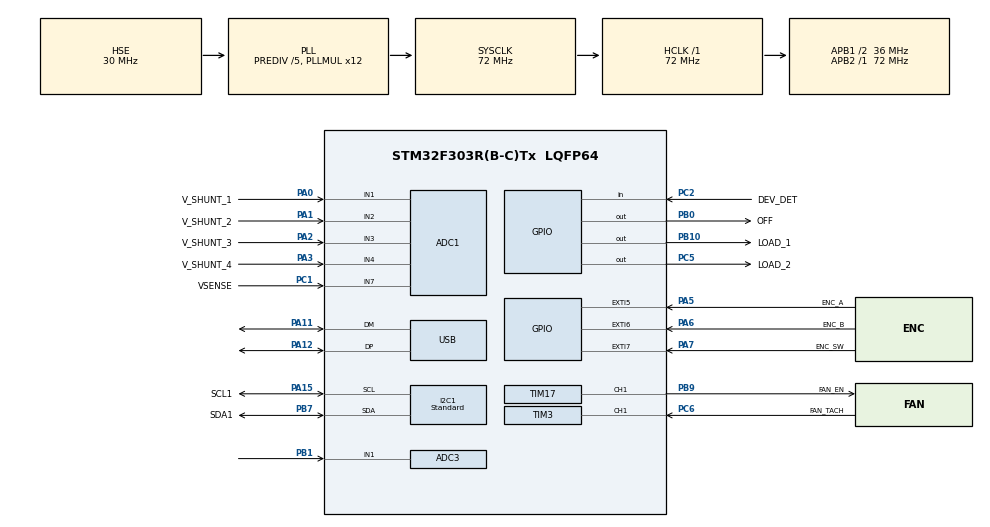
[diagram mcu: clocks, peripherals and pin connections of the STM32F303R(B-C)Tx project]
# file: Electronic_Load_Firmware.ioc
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ADC1.Channel-0\#ChannelRegularConversion=ADC_CHANNEL_1
ADC1.Channel-1\#ChannelRegularConversion=ADC_CHANNEL_2
ADC1.Channel-2\#ChannelRegularConversion=ADC_CHANNEL_3
ADC1.Channel-3\#ChannelRegularConversion=ADC_CHANNEL_4
ADC1.Channel-6\#ChannelRegularConversion=ADC_CHANNEL_7
ADC1.ContinuousConvMode=ENABLE
ADC1.DMAContinuousRequests=ENABLE
ADC1.EOCSelection=ADC_EOC_SEQ_CONV
ADC1.NbrOfConversion=5
ADC1.NbrOfConversionFlag=1
ADC1.Offset-0\#ChannelRegularConversion=0
ADC1.Offset-1\#ChannelRegularConversion=0
ADC1.Offset-2\#ChannelRegularConversion=0
ADC1.Offset-3\#ChannelRegularConversion=0
ADC1.Offset-6\#ChannelRegularConversion=0
ADC1.OffsetNumber-0\#ChannelRegularConversion=ADC_OFFSET_NONE
ADC1.OffsetNumber-1\#ChannelRegularConversion=ADC_OFFSET_NONE
ADC1.OffsetNumber-2\#ChannelRegularConversion=ADC_OFFSET_NONE
ADC1.OffsetNumber-3\#ChannelRegularConversion=ADC_OFFSET_NONE
ADC1.OffsetNumber-6\#ChannelRegularConversion=ADC_OFFSET_NONE
ADC1.Rank-0\#ChannelRegularConversion=1
ADC1.Rank-1\#ChannelRegularConversion=2
ADC1.Rank-2\#ChannelRegularConversion=3
ADC1.Rank-3\#ChannelRegularConversion=4
ADC1.Rank-6\#ChannelRegularConversion=5
ADC1.SamplingTime-0\#ChannelRegularConversion=ADC_SAMPLETIME_181CYCLES_5
ADC1.SamplingTime-1\#ChannelRegularConversion=ADC_SAMPLETIME_181CYCLES_5
ADC1.SamplingTime-2\#ChannelRegularConversion=ADC_SAMPLETIME_181CYCLES_5
ADC1.SamplingTime-3\#ChannelRegularConversion=ADC_SAMPLETIME_181CYCLES_5
ADC1.SamplingTime-6\#ChannelRegularConversion=ADC_SAMPLETIME_181CYCLES_5
ADC1.SamplingTimeOPAMP-6\#ChannelRegularConversion=ADC_SAMPLETIME_61CYCLES_5
ADC1.master=1
ADC3.Channel-0\#ChannelRegularConversion=ADC_CHANNEL_1
ADC3.NbrOfConversionFlag=1
ADC3.Offset-0\#ChannelRegularConversion=0
ADC3.OffsetNumber-0\#ChannelRegularConversion=ADC_OFFSET_NONE
ADC3.Rank-0\#ChannelRegularConversion=1
ADC3.SamplingTime-0\#ChannelRegularConversion=ADC_SAMPLETIME_1CYCLE_5
ADC3.SamplingTimeOPAMP-0\#ChannelRegularConversion=ADC_SAMPLETIME_61CYCLES_5
ADC3.master=1
Dma.ADC1.0.Direction=DMA_PERIPH_TO_MEMORY
Dma.ADC1.0.Instance=DMA1_Channel1
Dma.ADC1.0.MemDataAlignment=DMA_MDATAALIGN_HALFWORD
Dma.ADC1.0.MemInc=DMA_MINC_ENABLE
Dma.ADC1.0.Mode=DMA_CIRCULAR
Dma.ADC1.0.PeriphDataAlignment=DMA_PDATAALIGN_HALFWORD
Dma.ADC1.0.PeriphInc=DMA_PINC_DISABLE
Dma.ADC1.0.Priority=DMA_PRIORITY_LOW
Dma.Request0=ADC1
I2C1.I2C_Speed_Mode=I2C_Standard
I2C1.Timing=0x00201D2B
Mcu.Family=STM32F3
Mcu.Name=STM32F303R(B-C)Tx
Mcu.Package=LQFP64
NVIC.DMA1_Channel1_IRQn=true\:3\:0\:true\:false\:true\:false\:true\:true
NVIC.EXTI9_5_IRQn=true\:2\:0\:true\:false\:true\:true\:true\:true
NVIC.PriorityGroup=NVIC_PRIORITYGROUP_4
NVIC.TIM3_IRQn=true\:0\:0\:false\:false\:true\:true\:true\:true
NVIC.USB_LP_CAN_RX0_IRQn=true\:0\:0\:false\:false\:true\:false\:true\:true
PA0.GPIO_Label=V_SHUNT_1
PA0.Mode=IN1-Single-Ended
PA0.Signal=ADC1_IN1
PA1.GPIO_Label=V_SHUNT_2
PA1.Mode=IN2-Single-Ended
PA1.Signal=ADC1_IN2
PA11.Mode=Device
PA11.Signal=USB_DM
PA12.Mode=Device
PA12.Signal=USB_DP
PA13.Mode=Trace_Asynchronous_SW
PA13.Signal=SYS_JTMS-SWDIO
PA14.Mode=Trace_Asynchronous_SW
PA14.Signal=SYS_JTCK-SWCLK
PA15.GPIO_Label=SCL1
PA15.GPIO_Pu=GPIO_NOPULL
PA15.Mode=I2C
PA15.Signal=I2C1_SCL
PA2.GPIO_Label=V_SHUNT_3
PA2.Mode=IN3-Single-Ended
PA2.Signal=ADC1_IN3
PA3.GPIO_Label=V_SHUNT_4
PA3.Mode=IN4-Single-Ended
PA3.Signal=ADC1_IN4
PA5.GPIO_Label=ENC_A
PA5.GPIO_ModeDefaultEXTI=GPIO_MODE_IT_RISING_FALLING
PA5.GPIO_PuPd=GPIO_PULLUP
PA5.Signal=GPXTI5
PA6.GPIO_Label=ENC_B
PA6.GPIO_ModeDefaultEXTI=GPIO_MODE_IT_RISING_FALLING
PA6.GPIO_PuPd=GPIO_PULLUP
PA6.Signal=GPXTI6
PA7.GPIO_Label=ENC_SW
PA7.GPIO_ModeDefaultEXTI=GPIO_MODE_IT_FALLING
PA7.GPIO_PuPd=GPIO_PULLUP
PA7.Signal=GPXTI7
PB0.GPIO_Label=OFF
PB0.PinState=GPIO_PIN_SET
PB0.Signal=GPIO_Output
PB1.Mode=IN1-Single-Ended
PB1.Signal=ADC3_IN1
PB10.GPIO_Label=LOAD_1
PB10.PinState=GPIO_PIN_SET
PB10.Signal=GPIO_Output
PB3.GPIO_Label=SWD_SWO
PB3.Mode=Trace_Asynchronous_SW
PB3.Signal=SYS_JTDO-TRACESWO
PB7.GPIO_Label=SDA1
PB7.GPIO_Pu=GPIO_NOPULL
PB7.Mode=I2C
PB7.Signal=I2C1_SDA
PB9.GPIO_Label=FAN_EN
PB9.Signal=S_TIM17_CH1
PC1.GPIO_Label=VSENSE
PC1.Signal=ADCx_IN7
PC2.GPIO_Label=DEV_DET
PC2.Signal=GPIO_Input
PC5.GPIO_Label=LOAD_2
PC5.PinState=GPIO_PIN_SET
PC5.Signal=GPIO_Output
PC6.GPIO_Label=FAN_TACH
PC6.Signal=S_TIM3_CH1
PF0-OSC_IN.Mode=HSE-External-Oscillator
PF0-OSC_IN.Signal=RCC_OSC_IN
PF1-OSC_OUT.Mode=HSE-External-Oscillator
PF1-OSC_OUT.Signal=RCC_OSC_OUT
ProjectManager.HeapSize=0x200
ProjectManager.StackSize=0x400
ProjectManager.TargetToolchain=STM32CubeIDE
RCC.AHBFreq_Value=72000000
RCC.APB1CLKDivider=RCC_HCLK_DIV2
RCC.APB1Freq_Value=36000000
RCC.APB1TimFreq_Value=72000000
RCC.APB2Freq_Value=72000000
RCC.APB2TimFreq_Value=72000000
RCC.CortexFreq_Value=72000000
RCC.HCLKFreq_Value=72000000
RCC.HSE_VALUE=30000000
RCC.HSI_VALUE=8000000
RCC.LSE_VALUE=32768
RCC.PLLMUL=RCC_PLL_MUL12
RCC.PRESCALERUSB=RCC_USBCLKSOURCE_PLL_DIV1_5
RCC.RCC_PLLsource_Clock_Source_FROM_HSE=RCC_HSE_PREDIV_DIV5
RCC.SYSCLKFreq_VALUE=72000000
RCC.SYSCLKSourceVirtual=RCC_SYSCLKSOURCE_PLLCLK
RCC.USBFreq_Value=48000000
SH.ADCx_IN7.0=ADC1_IN7,IN7-Single-Ended
SH.S_TIM17_CH1.0=TIM17_CH1,PWM Generation1 CH1
SH.S_TIM3_CH1.0=TIM3_CH1,Input_Capture1_from_TI1
TIM17.Channel=TIM_CHANNEL_1
TIM17.Period=1919
TIM3.Channel-Input_Capture1_from_TI1=TIM_CHANNEL_1
TIM3.Prescaler=47
USB_DEVICE.CLASS_NAME_FS=CDC
USB_DEVICE.VirtualMode=Cdc
USB_DEVICE.VirtualModeFS=Cdc_FS
VP_TIM17_VS_ClockSourceINT.Mode=Enable_Timer
VP_TIM3_VS_ClockSourceINT.Mode=Internal
VP_USB_DEVICE_VS_USB_DEVICE_CDC_FS.Mode=CDC_FS
board=custom

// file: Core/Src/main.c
/* USER CODE BEGIN Header */
/**
 ******************************************************************************
 * @file           : main.c
 * @brief          : Main program body
 ******************************************************************************
 * @attention
 *
 * Copyright (c) 2026 STMicroelectronics.
 * All rights reserved.
 *
 * This software is licensed under terms that can be found in the LICENSE file
 * in the root directory of this software component.
 * If no LICENSE file comes with this software, it is provided AS-IS.
 *
 ******************************************************************************
 */
/* USER CODE END Header */
#include "main.h"
#include "usb_device.h"

/* USER CODE BEGIN Includes */
#include "mcp4725.h"
#include "usbd_cdc_if.h"
#include <math.h>
#include <stdio.h>
#include <stdlib.h>
#include <string.h>

/* USER CODE END Includes */

/* USER CODE BEGIN PD */
#define REPORT_PERIOD_MS 1000U

/* ADC reference (MCU VDD) */
#define ADC_VREF_MV 3300U
#define ADC_RAW_TO_MV(r) ((uint32_t)(r) * ADC_VREF_MV / 4096U)

/* Fixed DAC test value: 2048 ≈ 1.65 V when VDD = 3.3 V */
#define DAC_TEST_VALUE 0U
/* USER CODE END PD */

ADC_HandleTypeDef hadc1;
ADC_HandleTypeDef hadc3;
DMA_HandleTypeDef hdma_adc1;

I2C_HandleTypeDef hi2c1;

TIM_HandleTypeDef htim3;
TIM_HandleTypeDef htim17;

/* USER CODE BEGIN PV */
extern USBD_HandleTypeDef hUsbDeviceFS;
extern volatile uint8_t cmd_ready[];
extern volatile uint8_t cmd_ready_flag;

static volatile uint16_t adc_dma_buf[5]; /* [0..3]=V_SHUNT_1..4, [4]=VSENSE */

static uint32_t last_report_tick_ms = 0U;
static uint8_t banner_sent = 0U;
static char report_buf[200];

static HAL_StatusTypeDef dac_status =
    HAL_ERROR;                  /* tracks last DAC I2C result */
static uint16_t dac_value = 0U; /* current DAC setting */

static uint8_t i2c_devices_found = 0U; /* count from bus scan */
static char i2c_scan_buf[128];         /* scan result string */
/* Per-channel load state: 1=ON (GPIO LOW, PNP active), 0=OFF (GPIO HIGH, PNP
 * off) Index 0=CH1(PB0), 1=CH2(PB10), 2=CH3(PC5), 3=CH4(Repurposed) */
static uint8_t chan_enabled[4] = {1U, 1U, 1U, 0U}; /* all ON at startup */

static GPIO_TypeDef *const chan_port[4] = {OFF_GPIO_Port, LOAD_1_GPIO_Port,
                                           LOAD_2_GPIO_Port, NULL};
static const uint16_t chan_pin[4] = {OFF_Pin, LOAD_1_Pin, LOAD_2_Pin, 0};

static uint16_t fan_duty = 60U; /* Fan duty cycle in percent (0-100) */
static float env_temp_c = 0.0f; /* Calculated temperature from PB1 thermistor */
/* USER CODE END PV */

void SystemClock_Config(void);
static void MX_GPIO_Init(void);
static void MX_DMA_Init(void);
static void MX_ADC1_Init(void);
static void MX_I2C1_Init(void);
static void MX_TIM3_Init(void);
static void MX_TIM17_Init(void);
static void MX_ADC3_Init(void);
/* USER CODE BEGIN PFP */
static uint8_t usb_is_configured(void);
static HAL_StatusTypeDef clock_try_hse30_pll72_usb48(void);
static HAL_StatusTypeDef clock_try_hsi_pll48_usb48(void);
/* USER CODE END PFP */

/* USER CODE BEGIN 0 */
static uint8_t usb_is_configured(void) {
  return (hUsbDeviceFS.dev_state == USBD_STATE_CONFIGURED) ? 1U : 0U;
}

static HAL_StatusTypeDef clock_try_hse30_pll72_usb48(void) {
  RCC_OscInitTypeDef RCC_OscInitStruct = {0};
  RCC_ClkInitTypeDef RCC_ClkInitStruct = {0};
  RCC_PeriphCLKInitTypeDef PeriphClkInit = {0};

  RCC_OscInitStruct.OscillatorType =
      RCC_OSCILLATORTYPE_HSI | RCC_OSCILLATORTYPE_HSE;
  RCC_OscInitStruct.HSEState = RCC_HSE_ON;
  RCC_OscInitStruct.HSEPredivValue = RCC_HSE_PREDIV_DIV5;
  RCC_OscInitStruct.HSIState = RCC_HSI_ON;
  RCC_OscInitStruct.HSICalibrationValue = RCC_HSICALIBRATION_DEFAULT;
  RCC_OscInitStruct.PLL.PLLState = RCC_PLL_ON;
  RCC_OscInitStruct.PLL.PLLSource = RCC_PLLSOURCE_HSE;
  RCC_OscInitStruct.PLL.PLLMUL = RCC_PLL_MUL12;
  if (HAL_RCC_OscConfig(&RCC_OscInitStruct) != HAL_OK) {
    return HAL_ERROR;
  }

  RCC_ClkInitStruct.ClockType = RCC_CLOCKTYPE_HCLK | RCC_CLOCKTYPE_SYSCLK |
                                RCC_CLOCKTYPE_PCLK1 | RCC_CLOCKTYPE_PCLK2;
  RCC_ClkInitStruct.SYSCLKSource = RCC_SYSCLKSOURCE_PLLCLK;
  RCC_ClkInitStruct.AHBCLKDivider = RCC_SYSCLK_DIV1;
  RCC_ClkInitStruct.APB1CLKDivider = RCC_HCLK_DIV2;
  RCC_ClkInitStruct.APB2CLKDivider = RCC_HCLK_DIV1;
  if (HAL_RCC_ClockConfig(&RCC_ClkInitStruct, FLASH_LATENCY_2) != HAL_OK) {
    return HAL_ERROR;
  }

  PeriphClkInit.PeriphClockSelection =
      RCC_PERIPHCLK_USB | RCC_PERIPHCLK_I2C1 | RCC_PERIPHCLK_ADC12;
  PeriphClkInit.Adc12ClockSelection = RCC_ADC12PLLCLK_DIV1;
  PeriphClkInit.I2c1ClockSelection = RCC_I2C1CLKSOURCE_HSI;
  PeriphClkInit.USBClockSelection = RCC_USBCLKSOURCE_PLL_DIV1_5;
  if (HAL_RCCEx_PeriphCLKConfig(&PeriphClkInit) != HAL_OK) {
    return HAL_ERROR;
  }

  return HAL_OK;
}

static HAL_StatusTypeDef clock_try_hsi_pll48_usb48(void) {
  RCC_OscInitTypeDef RCC_OscInitStruct = {0};
  RCC_ClkInitTypeDef RCC_ClkInitStruct = {0};
  RCC_PeriphCLKInitTypeDef PeriphClkInit = {0};

  RCC_OscInitStruct.OscillatorType = RCC_OSCILLATORTYPE_HSI;
  RCC_OscInitStruct.HSIState = RCC_HSI_ON;
  RCC_OscInitStruct.HSICalibrationValue = RCC_HSICALIBRATION_DEFAULT;
  RCC_OscInitStruct.PLL.PLLState = RCC_PLL_ON;
  RCC_OscInitStruct.PLL.PLLSource = RCC_PLLSOURCE_HSI;
  RCC_OscInitStruct.PLL.PLLMUL = RCC_PLL_MUL12;
  if (HAL_RCC_OscConfig(&RCC_OscInitStruct) != HAL_OK) {
    return HAL_ERROR;
  }

  RCC_ClkInitStruct.ClockType = RCC_CLOCKTYPE_HCLK | RCC_CLOCKTYPE_SYSCLK |
                                RCC_CLOCKTYPE_PCLK1 | RCC_CLOCKTYPE_PCLK2;
  RCC_ClkInitStruct.SYSCLKSource = RCC_SYSCLKSOURCE_PLLCLK;
  RCC_ClkInitStruct.AHBCLKDivider = RCC_SYSCLK_DIV1;
  RCC_ClkInitStruct.APB1CLKDivider = RCC_HCLK_DIV2;
  RCC_ClkInitStruct.APB2CLKDivider = RCC_HCLK_DIV1;
  if (HAL_RCC_ClockConfig(&RCC_ClkInitStruct, FLASH_LATENCY_1) != HAL_OK) {
    return HAL_ERROR;
  }

  PeriphClkInit.PeriphClockSelection =
      RCC_PERIPHCLK_USB | RCC_PERIPHCLK_I2C1 | RCC_PERIPHCLK_ADC12;
  PeriphClkInit.Adc12ClockSelection = RCC_ADC12PLLCLK_DIV1;
  PeriphClkInit.I2c1ClockSelection = RCC_I2C1CLKSOURCE_HSI;
  PeriphClkInit.USBClockSelection = RCC_USBCLKSOURCE_PLL;
  if (HAL_RCCEx_PeriphCLKConfig(&PeriphClkInit) != HAL_OK) {
    return HAL_ERROR;
  }

  return HAL_OK;
}

/* ---- Load channel helpers ---- */
static void chan_apply(uint8_t ch) {
  if (ch >= 4U || chan_port[ch] == NULL)
    return;
  /* GPIO LOW = PNP ON = load active; GPIO HIGH = PNP OFF = no load */
  HAL_GPIO_WritePin(chan_port[ch], chan_pin[ch],
                    chan_enabled[ch] ? GPIO_PIN_RESET : GPIO_PIN_SET);
}

static void chan_apply_all(void) {
  for (uint8_t i = 0; i < 4; i++)
    chan_apply(i);
}

/* ---- Fan control helper (mirrors BMS Fan_SetSpeed) ---- */
static void Fan_SetSpeed(uint8_t percent) {
  if (percent > 100)
    percent = 100;
  fan_duty = percent;
  /* Scale 0-100% to 0-1919 (TIM17 period) */
  uint32_t compare = (uint32_t)percent * 1919U / 100U;
  __HAL_TIM_SET_COMPARE(&htim17, TIM_CHANNEL_1, (uint16_t)compare);
}

/* ---- Thermistor calculation helper ---- */
/* Assumes 10k thermistor (B57861s0103H040) with Beta = 3988K and 10k voltage
 * divider. */
static float calc_temperature(uint32_t raw_adc) {
  if (raw_adc == 0 || raw_adc >= 4095)
    return -99.9f; /* Error / open / short */

  /* Assuming Thermistor is to GND, pull-up is 10k */
  float r_therm = 10000.0f * ((float)raw_adc / (4095.0f - (float)raw_adc));

  /* Beta equation: 1/T = 1/T0 + (1/Beta) * ln(R/R0) */
  float t0 = 298.15f; /* 25C */
  float r0 = 10000.0f;
  float beta = 3988.0f; /* Typical Beta for 10k B57861S */

  float inv_t = (1.0f / t0) + (1.0f / beta) * logf(r_therm / r0);
  float t_kelvin = 1.0f / inv_t;
  return t_kelvin - 273.15f; /* Celsius */
}

/* USER CODE END 0 */

int main(void) {

  /* MCU Configuration--------------------------------------------------------*/

  /* Reset of all peripherals, Initializes the Flash interface and the Systick.
   */
  HAL_Init();

  /* USER CODE BEGIN Init */
  /* Prefer HSE 30 MHz -> PLL 72 MHz -> USB 48 MHz; fall back to HSI if no
   * crystal. */
  if (clock_try_hse30_pll72_usb48() != HAL_OK) {
    (void)clock_try_hsi_pll48_usb48();
  }
  /* USER CODE END Init */

  /* Configure the system clock */
  SystemClock_Config();

  /* Initialize all configured peripherals */
  MX_GPIO_Init();
  MX_DMA_Init();
  MX_ADC1_Init();
  MX_I2C1_Init();
  MX_TIM3_Init();
  MX_TIM17_Init();
  MX_USB_DEVICE_Init();
  MX_ADC3_Init();
  /* USER CODE BEGIN 2 */
  /* ADC1 Initialization for Shunts/VSense */
  HAL_ADCEx_Calibration_Start(&hadc1, ADC_SINGLE_ENDED);
  HAL_ADC_Start_DMA(&hadc1, (uint32_t *)adc_dma_buf, 5);

  /* ADC3 Initialization for PB1 Thermistor */
  __HAL_RCC_ADC34_CLK_ENABLE();
  HAL_ADCEx_Calibration_Start(&hadc3, ADC_SINGLE_ENDED);
  HAL_ADC_Start(&hadc3);

  HAL_TIM_PWM_Start(&htim17, TIM_CHANNEL_1);
  Fan_SetSpeed(fan_duty); /* applies initial duty cycle to timer compare */
  /* USER CODE END 2 */

  /* Infinite loop */
  while (1) {

    /* USER CODE BEGIN 3 */

    /* ---- Process incoming USB command ---- */
    if (cmd_ready_flag) {
      const char *cmd = (const char *)cmd_ready;

      if (cmd[0] == 'E' || cmd[0] == 'e') {
        /* "E <0/1>"  — enable (1) or disable (0) ALL load channels */
        const char *p = cmd + 1;
        while (*p == ' ')
          p++;
        uint8_t en = (*p == '1') ? 1U : 0U;
        for (uint8_t i = 0; i < 4; i++)
          chan_enabled[i] = en;
        chan_apply_all();

        int n =
            snprintf(report_buf, sizeof(report_buf),
                     "OK EN=%u CH1=%u CH2=%u CH3=%u CH4=%u\r\n", (unsigned)en,
                     (unsigned)chan_enabled[0], (unsigned)chan_enabled[1],
                     (unsigned)chan_enabled[2], (unsigned)chan_enabled[3]);
        if (n > 0 && usb_is_configured() && CDC_IsReady_FS())
          (void)CDC_Transmit_FS((uint8_t *)report_buf, (uint16_t)n);
      } else if (cmd[0] == 'S' || cmd[0] == 's') {
        /* "S"  — status query: immediate telemetry snapshot */
        uint32_t s1_mv = ADC_RAW_TO_MV(adc_dma_buf[0]);
        uint32_t s2_mv = ADC_RAW_TO_MV(adc_dma_buf[1]);
        uint32_t s3_mv = ADC_RAW_TO_MV(adc_dma_buf[2]);
        uint32_t s4_mv = ADC_RAW_TO_MV(adc_dma_buf[3]);

        int n = snprintf(
            report_buf, sizeof(report_buf),
            "S1=%lu S2=%lu S3=%lu S4=%lu CH1=%u CH2=%u CH3=%u CH4=%u\r\n",
            (unsigned long)s1_mv, (unsigned long)s2_mv, (unsigned long)s3_mv,
            (unsigned long)s4_mv, (unsigned)chan_enabled[0],
            (unsigned)chan_enabled[1], (unsigned)chan_enabled[2],
            (unsigned)chan_enabled[3]);
        if (n > 0 && usb_is_configured() && CDC_IsReady_FS())
          (void)CDC_Transmit_FS((uint8_t *)report_buf, (uint16_t)n);
      } else if (cmd[0] == 'L' || cmd[0] == 'l') {
        /* "L <1-4> <0/1>"  — toggle individual load channel */
        const char *p = cmd + 1;
        while (*p == ' ')
          p++;
        uint8_t ch_num = (*p >= '1' && *p <= '4') ? (*p - '1') : 0xFFU;
        p++;
        while (*p == ' ')
          p++;
        uint8_t state = (*p == '1') ? 1U : 0U;

        if (ch_num < 4U) {
          chan_enabled[ch_num] = state;
          chan_apply(ch_num);

          int n =
              snprintf(report_buf, sizeof(report_buf),
                       "OK CH%u=%u CH1=%u CH2=%u CH3=%u CH4=%u\r\n",
                       (unsigned)(ch_num + 1), (unsigned)state,
                       (unsigned)chan_enabled[0], (unsigned)chan_enabled[1],
                       (unsigned)chan_enabled[2], (unsigned)chan_enabled[3]);
          if (n > 0 && usb_is_configured() && CDC_IsReady_FS())
            (void)CDC_Transmit_FS((uint8_t *)report_buf, (uint16_t)n);
        }
      } else if (cmd[0] == 'D' || cmd[0] == 'd') {
        /* "D <0-4095>" — set DAC value */
        const char *p = cmd + 1;
        while (*p == ' ')
          p++;

        uint16_t val = 0;
        while (*p >= '0' && *p <= '9') {
          val = val * 10 + (*p - '0');
          p++;
        }

        if (val > 4095U)
          val = 4095U;
        dac_value = val;

        int n = snprintf(report_buf, sizeof(report_buf), "OK DAC=%u\r\n",
                         (unsigned)dac_value);
        if (n > 0 && usb_is_configured() && CDC_IsReady_FS())
          (void)CDC_Transmit_FS((uint8_t *)report_buf, (uint16_t)n);
      } else if (strncmp(cmd, "FAN:SET:", 8) == 0) {
        /* "FAN:SET:<0-100>" — set Fan Speed % (matches BMS command format) */
        int duty = atoi(cmd + 8);
        if (duty < 0)
          duty = 0;
        if (duty > 100)
          duty = 100;
        Fan_SetSpeed((uint8_t)duty);

        int n = snprintf(report_buf, sizeof(report_buf), "OK FAN=%u\r\n",
                         (unsigned)fan_duty);
        if (n > 0 && usb_is_configured() && CDC_IsReady_FS())
          (void)CDC_Transmit_FS((uint8_t *)report_buf, (uint16_t)n);
      }

      cmd_ready_flag = 0;
    }

    if (usb_is_configured() && CDC_IsReady_FS()) {
      uint32_t now = HAL_GetTick();

      if (!banner_sent) {
        int n = snprintf(
            report_buf, sizeof(report_buf),
            "\r\nElectronic Load Telemetry\r\n"
            "I2C_SCAN: %u device(s) found: %s\r\n"
            "CH1=%u CH2=%u CH3=%u CH4=%u DAC=%u FAN=%u DAC_I2C=%s\r\n\r\n",
            (unsigned)i2c_devices_found, i2c_scan_buf,
            (unsigned)chan_enabled[0], (unsigned)chan_enabled[1],
            (unsigned)chan_enabled[2], (unsigned)chan_enabled[3],
            (unsigned)dac_value, (unsigned)fan_duty,
            (dac_status == HAL_OK) ? "ACK" : "NACK");
        (void)CDC_Transmit_FS((uint8_t *)report_buf, (uint16_t)n);
        banner_sent = 1U;
        last_report_tick_ms = now;
      } else if ((now - last_report_tick_ms) >= REPORT_PERIOD_MS) {
        last_report_tick_ms = now;

        /* Sample PB1 Thermistor (ADC3) */
        uint32_t adc3_val = 0;
        if (HAL_ADC_PollForConversion(&hadc3, 10) == HAL_OK) {
          adc3_val = HAL_ADC_GetValue(&hadc3);
          env_temp_c = calc_temperature(adc3_val);
        }
        HAL_ADC_Start(&hadc3); // Restart conversion for next loop

        /* Check if DAC is present on the bus */
        HAL_StatusTypeDef dev_ready =
            HAL_I2C_IsDeviceReady(&hi2c1, MCP4725_ADDR, 3, 100);

        /* Try to write DAC value */
        dac_status = MCP4725_SetVoltage(dac_value);

        /* ADC snapshot */
        uint32_t s1_mv = ADC_RAW_TO_MV(adc_dma_buf[0]);
        uint32_t s2_mv = ADC_RAW_TO_MV(adc_dma_buf[1]);
        uint32_t s3_mv = ADC_RAW_TO_MV(adc_dma_buf[2]);
        uint32_t s4_mv = ADC_RAW_TO_MV(adc_dma_buf[3]);

        int n = snprintf(
            report_buf, sizeof(report_buf),
            "S1=%lu S2=%lu S3=%lu S4=%lu DAC=%u DEV=%s WR=%s "
            "FAN:AUTO=0,DUTY=%u,RPM=0 TEMP=%.1f RAW_ADC=%lu ERR=0x%02lX\r\n",
            (unsigned long)s1_mv, (unsigned long)s2_mv, (unsigned long)s3_mv,
            (unsigned long)s4_mv, (unsigned)dac_value,
            (dev_ready == HAL_OK) ? "OK" : "NO",
            (dac_status == HAL_OK) ? "OK" : "FAIL", (unsigned)fan_duty,
            env_temp_c, (unsigned long)adc3_val,
            (unsigned long)hi2c1.ErrorCode);
        if (n > 0)
          (void)CDC_Transmit_FS((uint8_t *)report_buf, (uint16_t)n);
      }
    }
  }
  /* USER CODE END 3 */
}

void SystemClock_Config(void) {
  RCC_OscInitTypeDef RCC_OscInitStruct = {0};
  RCC_ClkInitTypeDef RCC_ClkInitStruct = {0};
  RCC_PeriphCLKInitTypeDef PeriphClkInit = {0};

  /** Initializes the RCC Oscillators according to the specified parameters
   * in the RCC_OscInitTypeDef structure.
   */
  RCC_OscInitStruct.OscillatorType =
      RCC_OSCILLATORTYPE_HSI | RCC_OSCILLATORTYPE_HSE;
  RCC_OscInitStruct.HSEState = RCC_HSE_ON;
  RCC_OscInitStruct.HSEPredivValue = RCC_HSE_PREDIV_DIV5;
  RCC_OscInitStruct.HSIState = RCC_HSI_ON;
  RCC_OscInitStruct.HSICalibrationValue = RCC_HSICALIBRATION_DEFAULT;
  RCC_OscInitStruct.PLL.PLLState = RCC_PLL_ON;
  RCC_OscInitStruct.PLL.PLLSource = RCC_PLLSOURCE_HSE;
  RCC_OscInitStruct.PLL.PLLMUL = RCC_PLL_MUL12;
  if (HAL_RCC_OscConfig(&RCC_OscInitStruct) != HAL_OK) {
    Error_Handler();
  }

  /** Initializes the CPU, AHB and APB buses clocks
   */
  RCC_ClkInitStruct.ClockType = RCC_CLOCKTYPE_HCLK | RCC_CLOCKTYPE_SYSCLK |
                                RCC_CLOCKTYPE_PCLK1 | RCC_CLOCKTYPE_PCLK2;
  RCC_ClkInitStruct.SYSCLKSource = RCC_SYSCLKSOURCE_PLLCLK;
  RCC_ClkInitStruct.AHBCLKDivider = RCC_SYSCLK_DIV1;
  RCC_ClkInitStruct.APB1CLKDivider = RCC_HCLK_DIV2;
  RCC_ClkInitStruct.APB2CLKDivider = RCC_HCLK_DIV1;

  if (HAL_RCC_ClockConfig(&RCC_ClkInitStruct, FLASH_LATENCY_2) != HAL_OK) {
    Error_Handler();
  }
  PeriphClkInit.PeriphClockSelection = RCC_PERIPHCLK_USB | RCC_PERIPHCLK_I2C1 |
                                       RCC_PERIPHCLK_ADC12 |
                                       RCC_PERIPHCLK_ADC34;
  PeriphClkInit.Adc12ClockSelection = RCC_ADC12PLLCLK_DIV1;
  PeriphClkInit.Adc34ClockSelection = RCC_ADC34PLLCLK_DIV1;
  PeriphClkInit.I2c1ClockSelection = RCC_I2C1CLKSOURCE_HSI;
  PeriphClkInit.USBClockSelection = RCC_USBCLKSOURCE_PLL_DIV1_5;
  if (HAL_RCCEx_PeriphCLKConfig(&PeriphClkInit) != HAL_OK) {
    Error_Handler();
  }
}

static void MX_ADC1_Init(void) {

  ADC_MultiModeTypeDef multimode = {0};
  ADC_ChannelConfTypeDef sConfig = {0};

  /** Common config
   */
  hadc1.Instance = ADC1;
  hadc1.Init.ClockPrescaler = ADC_CLOCK_ASYNC_DIV1;
  hadc1.Init.Resolution = ADC_RESOLUTION_12B;
  hadc1.Init.ScanConvMode = ADC_SCAN_ENABLE;
  hadc1.Init.ContinuousConvMode = ENABLE;
  hadc1.Init.DiscontinuousConvMode = DISABLE;
  hadc1.Init.ExternalTrigConvEdge = ADC_EXTERNALTRIGCONVEDGE_NONE;
  hadc1.Init.ExternalTrigConv = ADC_SOFTWARE_START;
  hadc1.Init.DataAlign = ADC_DATAALIGN_RIGHT;
  hadc1.Init.NbrOfConversion = 5;
  hadc1.Init.DMAContinuousRequests = ENABLE;
  hadc1.Init.EOCSelection = ADC_EOC_SEQ_CONV;
  hadc1.Init.LowPowerAutoWait = DISABLE;
  hadc1.Init.Overrun = ADC_OVR_DATA_OVERWRITTEN;
  if (HAL_ADC_Init(&hadc1) != HAL_OK) {
    Error_Handler();
  }

  /** Configure the ADC multi-mode
   */
  multimode.Mode = ADC_MODE_INDEPENDENT;
  if (HAL_ADCEx_MultiModeConfigChannel(&hadc1, &multimode) != HAL_OK) {
    Error_Handler();
  }

  /** Configure Regular Channel
   */
  sConfig.Channel = ADC_CHANNEL_1;
  sConfig.Rank = ADC_REGULAR_RANK_1;
  sConfig.SingleDiff = ADC_SINGLE_ENDED;
  sConfig.SamplingTime = ADC_SAMPLETIME_181CYCLES_5;
  sConfig.OffsetNumber = ADC_OFFSET_NONE;
  sConfig.Offset = 0;
  if (HAL_ADC_ConfigChannel(&hadc1, &sConfig) != HAL_OK) {
    Error_Handler();
  }

  /** Configure Regular Channel
   */
  sConfig.Channel = ADC_CHANNEL_2;
  sConfig.Rank = ADC_REGULAR_RANK_2;
  if (HAL_ADC_ConfigChannel(&hadc1, &sConfig) != HAL_OK) {
    Error_Handler();
  }

  /** Configure Regular Channel
   */
  sConfig.Channel = ADC_CHANNEL_3;
  sConfig.Rank = ADC_REGULAR_RANK_3;
  if (HAL_ADC_ConfigChannel(&hadc1, &sConfig) != HAL_OK) {
    Error_Handler();
  }

  /** Configure Regular Channel
   */
  sConfig.Channel = ADC_CHANNEL_4;
  sConfig.Rank = ADC_REGULAR_RANK_4;
  if (HAL_ADC_ConfigChannel(&hadc1, &sConfig) != HAL_OK) {
    Error_Handler();
  }

  /** Configure Regular Channel
   */
  sConfig.Channel = ADC_CHANNEL_7;
  sConfig.Rank = ADC_REGULAR_RANK_5;
  if (HAL_ADC_ConfigChannel(&hadc1, &sConfig) != HAL_OK) {
    Error_Handler();
  }
}

static void MX_ADC3_Init(void) {

  ADC_MultiModeTypeDef multimode = {0};
  ADC_ChannelConfTypeDef sConfig = {0};

  /** Common config
   */
  hadc3.Instance = ADC3;
  hadc3.Init.ClockPrescaler = ADC_CLOCK_ASYNC_DIV1;
  hadc3.Init.Resolution = ADC_RESOLUTION_12B;
  hadc3.Init.ScanConvMode = ADC_SCAN_DISABLE;
  hadc3.Init.ContinuousConvMode = DISABLE;
  hadc3.Init.DiscontinuousConvMode = DISABLE;
  hadc3.Init.ExternalTrigConvEdge = ADC_EXTERNALTRIGCONVEDGE_NONE;
  hadc3.Init.ExternalTrigConv = ADC_SOFTWARE_START;
  hadc3.Init.DataAlign = ADC_DATAALIGN_RIGHT;
  hadc3.Init.NbrOfConversion = 1;
  hadc3.Init.DMAContinuousRequests = DISABLE;
  hadc3.Init.EOCSelection = ADC_EOC_SINGLE_CONV;
  hadc3.Init.LowPowerAutoWait = DISABLE;
  hadc3.Init.Overrun = ADC_OVR_DATA_OVERWRITTEN;
  if (HAL_ADC_Init(&hadc3) != HAL_OK) {
    Error_Handler();
  }

  /** Configure the ADC multi-mode
   */
  multimode.Mode = ADC_MODE_INDEPENDENT;
  if (HAL_ADCEx_MultiModeConfigChannel(&hadc3, &multimode) != HAL_OK) {
    Error_Handler();
  }

  /** Configure Regular Channel
   */
  sConfig.Channel = ADC_CHANNEL_1;
  sConfig.Rank = ADC_REGULAR_RANK_1;
  sConfig.SingleDiff = ADC_SINGLE_ENDED;
  sConfig.SamplingTime = ADC_SAMPLETIME_1CYCLE_5;
  sConfig.OffsetNumber = ADC_OFFSET_NONE;
  sConfig.Offset = 0;
  if (HAL_ADC_ConfigChannel(&hadc3, &sConfig) != HAL_OK) {
    Error_Handler();
  }
}

static void MX_I2C1_Init(void) {

  hi2c1.Instance = I2C1;
  hi2c1.Init.Timing = 0x00201D2B;
  hi2c1.Init.OwnAddress1 = 0;
  hi2c1.Init.AddressingMode = I2C_ADDRESSINGMODE_7BIT;
  hi2c1.Init.DualAddressMode = I2C_DUALADDRESS_DISABLE;
  hi2c1.Init.OwnAddress2 = 0;
  hi2c1.Init.OwnAddress2Masks = I2C_OA2_NOMASK;
  hi2c1.Init.GeneralCallMode = I2C_GENERALCALL_DISABLE;
  hi2c1.Init.NoStretchMode = I2C_NOSTRETCH_DISABLE;
  if (HAL_I2C_Init(&hi2c1) != HAL_OK) {
    Error_Handler();
  }

  /** Configure Analogue filter
   */
  if (HAL_I2CEx_ConfigAnalogFilter(&hi2c1, I2C_ANALOGFILTER_ENABLE) != HAL_OK) {
    Error_Handler();
  }

  /** Configure Digital filter
   */
  if (HAL_I2CEx_ConfigDigitalFilter(&hi2c1, 0) != HAL_OK) {
    Error_Handler();
  }
}

static void MX_TIM3_Init(void) {

  TIM_ClockConfigTypeDef sClockSourceConfig = {0};
  TIM_MasterConfigTypeDef sMasterConfig = {0};
  TIM_IC_InitTypeDef sConfigIC = {0};

  htim3.Instance = TIM3;
  htim3.Init.Prescaler = 47;
  htim3.Init.CounterMode = TIM_COUNTERMODE_UP;
  htim3.Init.Period = 65535;
  htim3.Init.ClockDivision = TIM_CLOCKDIVISION_DIV1;
  htim3.Init.AutoReloadPreload = TIM_AUTORELOAD_PRELOAD_DISABLE;
  if (HAL_TIM_Base_Init(&htim3) != HAL_OK) {
    Error_Handler();
  }
  sClockSourceConfig.ClockSource = TIM_CLOCKSOURCE_INTERNAL;
  if (HAL_TIM_ConfigClockSource(&htim3, &sClockSourceConfig) != HAL_OK) {
    Error_Handler();
  }
  if (HAL_TIM_IC_Init(&htim3) != HAL_OK) {
    Error_Handler();
  }
  sMasterConfig.MasterOutputTrigger = TIM_TRGO_RESET;
  sMasterConfig.MasterSlaveMode = TIM_MASTERSLAVEMODE_DISABLE;
  if (HAL_TIMEx_MasterConfigSynchronization(&htim3, &sMasterConfig) != HAL_OK) {
    Error_Handler();
  }
  sConfigIC.ICPolarity = TIM_INPUTCHANNELPOLARITY_RISING;
  sConfigIC.ICSelection = TIM_ICSELECTION_DIRECTTI;
  sConfigIC.ICPrescaler = TIM_ICPSC_DIV1;
  sConfigIC.ICFilter = 0;
  if (HAL_TIM_IC_ConfigChannel(&htim3, &sConfigIC, TIM_CHANNEL_1) != HAL_OK) {
    Error_Handler();
  }
}

static void MX_TIM17_Init(void) {

  TIM_OC_InitTypeDef sConfigOC = {0};
  TIM_BreakDeadTimeConfigTypeDef sBreakDeadTimeConfig = {0};

  htim17.Instance = TIM17;
  htim17.Init.Prescaler = 0;
  htim17.Init.CounterMode = TIM_COUNTERMODE_UP;
  htim17.Init.Period = 1919;
  htim17.Init.ClockDivision = TIM_CLOCKDIVISION_DIV1;
  htim17.Init.RepetitionCounter = 0;
  htim17.Init.AutoReloadPreload = TIM_AUTORELOAD_PRELOAD_DISABLE;
  if (HAL_TIM_Base_Init(&htim17) != HAL_OK) {
    Error_Handler();
  }
  if (HAL_TIM_PWM_Init(&htim17) != HAL_OK) {
    Error_Handler();
  }
  sConfigOC.OCMode = TIM_OCMODE_PWM1;
  sConfigOC.Pulse = 0;
  sConfigOC.OCPolarity = TIM_OCPOLARITY_HIGH;
  sConfigOC.OCNPolarity = TIM_OCNPOLARITY_HIGH;
  sConfigOC.OCFastMode = TIM_OCFAST_DISABLE;
  sConfigOC.OCIdleState = TIM_OCIDLESTATE_RESET;
  sConfigOC.OCNIdleState = TIM_OCNIDLESTATE_RESET;
  if (HAL_TIM_PWM_ConfigChannel(&htim17, &sConfigOC, TIM_CHANNEL_1) != HAL_OK) {
    Error_Handler();
  }
  sBreakDeadTimeConfig.OffStateRunMode = TIM_OSSR_DISABLE;
  sBreakDeadTimeConfig.OffStateIDLEMode = TIM_OSSI_DISABLE;
  sBreakDeadTimeConfig.LockLevel = TIM_LOCKLEVEL_OFF;
  sBreakDeadTimeConfig.DeadTime = 0;
  sBreakDeadTimeConfig.BreakState = TIM_BREAK_DISABLE;
  sBreakDeadTimeConfig.BreakPolarity = TIM_BREAKPOLARITY_HIGH;
  sBreakDeadTimeConfig.BreakFilter = 0;
  sBreakDeadTimeConfig.AutomaticOutput = TIM_AUTOMATICOUTPUT_DISABLE;
  if (HAL_TIMEx_ConfigBreakDeadTime(&htim17, &sBreakDeadTimeConfig) != HAL_OK) {
    Error_Handler();
  }
  HAL_TIM_MspPostInit(&htim17);
}

static void MX_DMA_Init(void) {

  /* DMA controller clock enable */
  __HAL_RCC_DMA1_CLK_ENABLE();

  /* DMA interrupt init */
  /* DMA1_Channel1_IRQn interrupt configuration */
  HAL_NVIC_SetPriority(DMA1_Channel1_IRQn, 3, 0);
  HAL_NVIC_EnableIRQ(DMA1_Channel1_IRQn);
}

static void MX_GPIO_Init(void) {
  GPIO_InitTypeDef GPIO_InitStruct = {0};

  /* GPIO Ports Clock Enable */
  __HAL_RCC_GPIOF_CLK_ENABLE();
  __HAL_RCC_GPIOC_CLK_ENABLE();
  __HAL_RCC_GPIOA_CLK_ENABLE();
  __HAL_RCC_GPIOB_CLK_ENABLE();

  /*Configure GPIO pin Output Level */
  HAL_GPIO_WritePin(LOAD_2_GPIO_Port, LOAD_2_Pin, GPIO_PIN_SET);

  /*Configure GPIO pin Output Level */
  HAL_GPIO_WritePin(GPIOB, OFF_Pin | LOAD_1_Pin, GPIO_PIN_SET);

  /*Configure GPIO pin : DEV_DET_Pin */
  GPIO_InitStruct.Pin = DEV_DET_Pin;
  GPIO_InitStruct.Mode = GPIO_MODE_INPUT;
  GPIO_InitStruct.Pull = GPIO_NOPULL;
  HAL_GPIO_Init(DEV_DET_GPIO_Port, &GPIO_InitStruct);

  /*Configure GPIO pins : ENC_A_Pin ENC_B_Pin */
  GPIO_InitStruct.Pin = ENC_A_Pin | ENC_B_Pin;
  GPIO_InitStruct.Mode = GPIO_MODE_IT_RISING_FALLING;
  GPIO_InitStruct.Pull = GPIO_PULLUP;
  HAL_GPIO_Init(GPIOA, &GPIO_InitStruct);

  /*Configure GPIO pin : ENC_SW_Pin */
  GPIO_InitStruct.Pin = ENC_SW_Pin;
  GPIO_InitStruct.Mode = GPIO_MODE_IT_FALLING;
  GPIO_InitStruct.Pull = GPIO_PULLUP;
  HAL_GPIO_Init(ENC_SW_GPIO_Port, &GPIO_InitStruct);

  /*Configure GPIO pin : LOAD_2_Pin */
  GPIO_InitStruct.Pin = LOAD_2_Pin;
  GPIO_InitStruct.Mode = GPIO_MODE_OUTPUT_PP;
  GPIO_InitStruct.Pull = GPIO_NOPULL;
  GPIO_InitStruct.Speed = GPIO_SPEED_FREQ_LOW;
  HAL_GPIO_Init(LOAD_2_GPIO_Port, &GPIO_InitStruct);

  /*Configure GPIO pins : OFF_Pin LOAD_1_Pin */
  GPIO_InitStruct.Pin = OFF_Pin | LOAD_1_Pin;
  GPIO_InitStruct.Mode = GPIO_MODE_OUTPUT_PP;
  GPIO_InitStruct.Pull = GPIO_NOPULL;
  GPIO_InitStruct.Speed = GPIO_SPEED_FREQ_LOW;
  HAL_GPIO_Init(GPIOB, &GPIO_InitStruct);

  /* EXTI interrupt init*/
  HAL_NVIC_SetPriority(EXTI9_5_IRQn, 2, 0);
  HAL_NVIC_EnableIRQ(EXTI9_5_IRQn);

}

void Error_Handler(void) {
  /* USER CODE BEGIN Error_Handler_Debug */
  /* Do NOT disable interrupts — USB enumeration requires them.
     Just spin so the debugger can catch us here. */
  while (1) {
  }
  /* USER CODE END Error_Handler_Debug */
}
#ifdef USE_FULL_ASSERT
/**
 * @brief  Reports the name of the source file and the source line number
 *         where the assert_param error has occurred.
 * @param  file: pointer to the source file name
 * @param  line: assert_param error line source number
 * @retval None
 */
void assert_failed(uint8_t *file, uint32_t line) {
  /* USER CODE BEGIN 6 */
  /* User can add his own implementation to report the file name and line
     number, ex: printf("Wrong parameters value: file %s on line %d\r\n", file,
     line) */
  /* USER CODE END 6 */
}
#endif /* USE_FULL_ASSERT */
